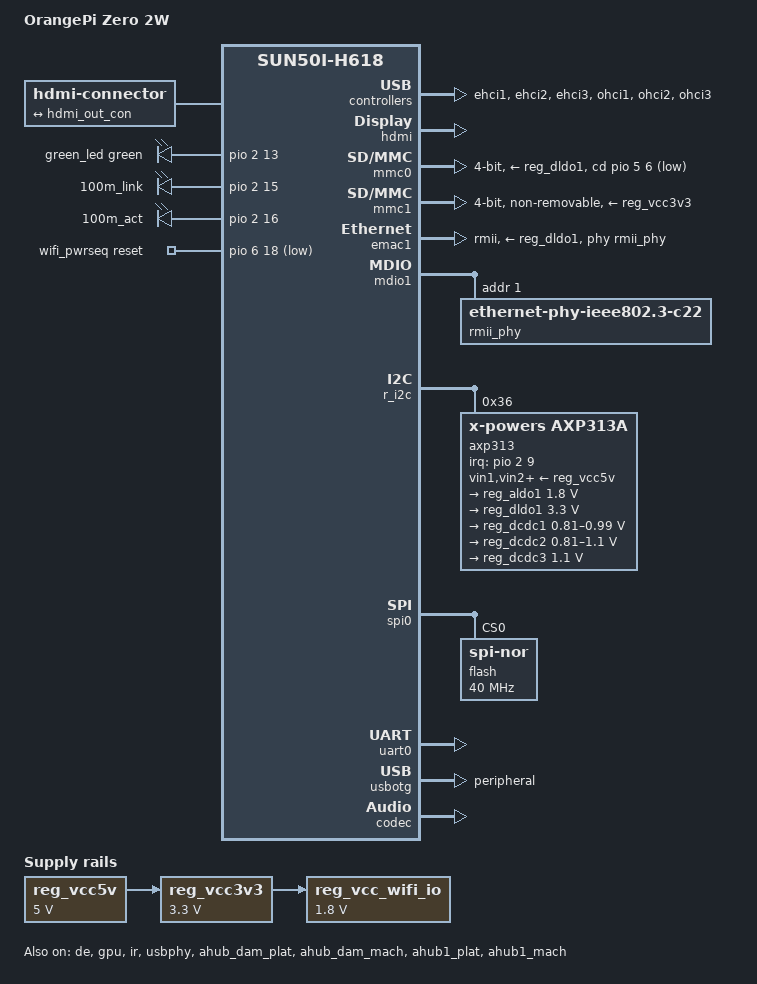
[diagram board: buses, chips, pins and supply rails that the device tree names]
// SPDX-License-Identifier: (GPL-2.0+ OR MIT)
/*
 * Copyright (C) 2023 Arm Ltd.
 */

/dts-v1/;

#include "allwinner/sun50i-h616.dtsi"
#include "allwinner/sun50i-h616-cpu-opp.dtsi"

#include <dt-bindings/gpio/gpio.h>
#include <dt-bindings/interrupt-controller/arm-gic.h>
#include <dt-bindings/leds/common.h>

/ {
	model = "OrangePi Zero 2W";
	compatible = "xunlong,orangepi-zero2w", "allwinner,sun50i-h618";

	aliases {
		serial0 = &uart0;
	};

	chosen {
		stdout-path = "serial0:115200n8";
	};

	connector {
		compatible = "hdmi-connector";
		type = "d";

		port {
			hdmi_con_in: endpoint {
				remote-endpoint = <&hdmi_out_con>;
			};
		};
	};

	leds {
		compatible = "gpio-leds";

		led-0 {
			function = LED_FUNCTION_STATUS;
			color = <LED_COLOR_ID_GREEN>;
			label = "green_led";
			gpios = <&pio 2 13 GPIO_ACTIVE_HIGH>; /* PC13 */
			linux,default-trigger = "heartbeat";
		};

		100m_link {
			label = "100m_link";
			gpios = <&pio 2 15 GPIO_ACTIVE_HIGH>; /* PC15 */
			default-state = "off";
		};

		100m_act {
			label = "100m_act";
			gpios = <&pio 2 16 GPIO_ACTIVE_HIGH>; /* PC16 */
			default-state = "off";
		};
	};

	reg_vcc5v: vcc5v {
		/* board wide 5V supply directly from the USB-C socket */
		compatible = "regulator-fixed";
		regulator-name = "vcc-5v";
		regulator-min-microvolt = <5000000>;
		regulator-max-microvolt = <5000000>;
		regulator-always-on;
	};

	reg_vcc3v3: vcc3v3 {
		/* SY8089 DC/DC converter */
		compatible = "regulator-fixed";
		regulator-name = "vcc-3v3";
		regulator-min-microvolt = <3300000>;
		regulator-max-microvolt = <3300000>;
		vin-supply = <&reg_vcc5v>;
		regulator-always-on;
	};

	reg_vcc_wifi_io: vcc-wifi-io {
		/* Always on 1.8V/300mA regulator for WiFi and BT IO */
		compatible = "regulator-fixed";
		regulator-name = "vcc-wifi-io";
		regulator-min-microvolt = <1800000>;
		regulator-max-microvolt = <1800000>;
		regulator-always-on;
		vin-supply = <&reg_vcc3v3>;
	};

	wifi_pwrseq: wifi-pwrseq {
		compatible = "mmc-pwrseq-simple";
		clocks = <&rtc 1>;
		clock-names = "osc32k-out";
		reset-gpios = <&pio 6 18 GPIO_ACTIVE_LOW>; /* PG18 */
		post-power-on-delay-ms = <200>;
	};
};

&cpu0 {
	cpu-supply = <&reg_dcdc2>;
	status = "okay";
};

&ehci1 {
	status = "okay";
};

&de {
	status = "okay";
};

&hdmi {
	status = "okay";
};

&hdmi_out {
	hdmi_out_con: endpoint {
		remote-endpoint = <&hdmi_con_in>;
	};
};

&gpu {
	mali-supply = <&reg_dcdc1>;
	status = "okay";
};

&mmc0 {
	cd-gpios = <&pio 5 6 GPIO_ACTIVE_LOW>;	/* PF6 */
	bus-width = <4>;
	vmmc-supply = <&reg_dldo1>;
	max-frequency = <50000000>;
	status = "okay";
};

&mmc1 {
	vmmc-supply = <&reg_vcc3v3>;
	vqmmc-supply = <&reg_vcc_wifi_io>;
	mmc-pwrseq = <&wifi_pwrseq>;
	bus-width = <4>;
	non-removable;
	mmc-ddr-1_8v;
	status = "okay";
};

&emac1 {
	pinctrl-names = "default";
	pinctrl-0 = <&rmii_pins>;
	phy-mode = "rmii";
	phy-handle = <&rmii_phy>;
	phy-supply = <&reg_dldo1>;
	allwinner,rx-delay-ps = <3100>;
	allwinner,tx-delay-ps = <700>;
	status = "okay";
};

&mdio1 {
	rmii_phy: ethernet-phy@1 {
		compatible = "ethernet-phy-ieee802.3-c22";
		reg = <1>;
	};
};

&ehci2 {
	status = "okay";
};

&ehci3 {
	status = "okay";
};

&ohci1 {
	status = "okay";
};

&ohci2 {
	status = "okay";
};

&ohci3 {
	status = "okay";
};

&pio {
	vcc-pc-supply = <&reg_dldo1>;
	vcc-pf-supply = <&reg_dldo1>;	/* internally via VCC-IO */
	vcc-pg-supply = <&reg_aldo1>;
	vcc-ph-supply = <&reg_dldo1>;	/* internally via VCC-IO */
	vcc-pi-supply = <&reg_dldo1>;
};

&ir {
	pinctrl-names = "default";
	pinctrl-0 = <&ir_rx_pin>;
	status = "okay";
};

&r_i2c {
	status = "okay";

	axp313: pmic@36 {
		compatible = "x-powers,axp313a";
		reg = <0x36>;
		#interrupt-cells = <1>;
		interrupt-controller;
		interrupt-parent = <&pio>;
		interrupts = <2 9 IRQ_TYPE_LEVEL_LOW>;	/* PC9 */

		vin1-supply = <&reg_vcc5v>;
		vin2-supply = <&reg_vcc5v>;
		vin3-supply = <&reg_vcc5v>;

		regulators {
			/* Supplies VCC-PLL and DRAM */
			reg_aldo1: aldo1 {
				regulator-always-on;
				regulator-min-microvolt = <1800000>;
				regulator-max-microvolt = <1800000>;
				regulator-name = "vcc1v8";
			};

			/* Supplies VCC-IO, so needs to be always on. */
			reg_dldo1: dldo1 {
				regulator-always-on;
				regulator-min-microvolt = <3300000>;
				regulator-max-microvolt = <3300000>;
				regulator-name = "vcc3v3";
			};

			reg_dcdc1: dcdc1 {
				regulator-always-on;
				regulator-min-microvolt = <810000>;
				regulator-max-microvolt = <990000>;
				regulator-name = "vdd-gpu-sys";
			};

			reg_dcdc2: dcdc2 {
				regulator-always-on;
				regulator-min-microvolt = <810000>;
				regulator-max-microvolt = <1100000>;
				regulator-name = "vdd-cpu";
			};

			reg_dcdc3: dcdc3 {
				regulator-always-on;
				regulator-min-microvolt = <1100000>;
				regulator-max-microvolt = <1100000>;
				regulator-name = "vdd-dram";
			};
		};
	};
};

&spi0  {
	status = "okay";
	pinctrl-names = "default";
	pinctrl-0 = <&spi0_pins>, <&spi0_cs0_pin>;

	flash@0 {
		#address-cells = <1>;
		#size-cells = <1>;
		compatible = "jedec,spi-nor";
		reg = <0>;
		spi-max-frequency = <40000000>;
	};
};

&uart0 {
	pinctrl-names = "default";
	pinctrl-0 = <&uart0_ph_pins>;
	status = "okay";
};

&usbotg {
	/*
	 * PHY0 pins are connected to a USB-C socket, but a role switch
	 * is not implemented: both CC pins are pulled to GND.
	 * The VBUS pins power the device, so a fixed peripheral mode
	 * is the best choice.
	 * The board can be powered via GPIOs, in this case port0 *can*
	 * act as a host (with a cable/adapter ignoring CC), as VBUS is
	 * then provided by the GPIOs. Any user of this setup would
	 * need to adjust the DT accordingly: dr_mode set to "host",
	 * enabling OHCI0 and EHCI0.
	 */
	dr_mode = "peripheral";
	status = "okay";
};

&usbphy {
	usb1_vbus-supply = <&reg_vcc5v>;
	status = "okay";
};

&codec {
	allwinner,audio-routing =
	"Line Out", "LINEOUT";
	status = "okay";
};

&ahub_dam_plat {
	status = "okay";
};

&ahub_dam_mach {
	status = "okay";
};

&ahub1_plat {
	status = "okay";
};

&ahub1_mach {
	status = "okay";
};
